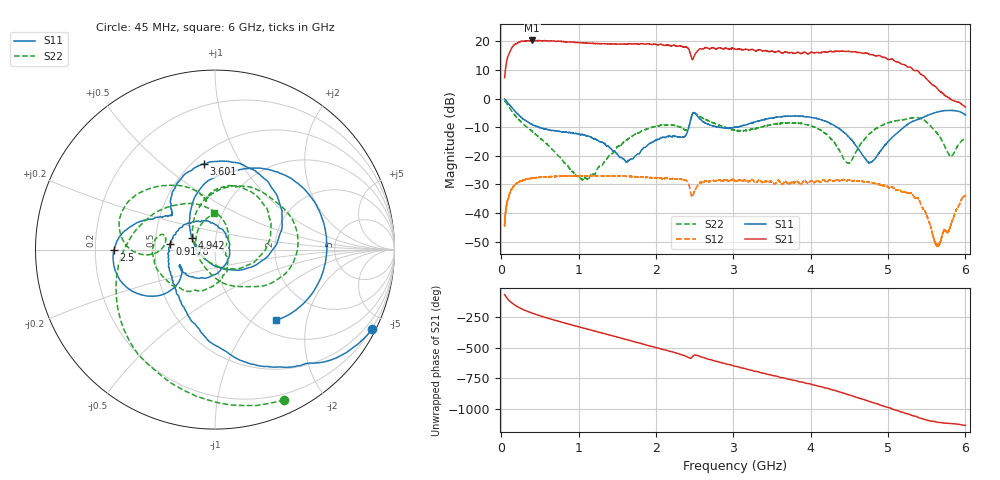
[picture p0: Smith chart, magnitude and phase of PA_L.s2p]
!Agilent Technologies,E8364A,US41440144,A.06.04.32
!Agilent E8364A: A.06.04.32
!Date: Thursday, November 08, 2018 14:32:05
!Correction: S11(Full 2 Port(1,2)) S21(Full 2 Port(1,2)) S12(Full 2 Port(1,2)) S22(Full 2 Port(1,2))
!S2P File: Measurements: S11, S21, S12, S22:
# Hz S  dB  R 50
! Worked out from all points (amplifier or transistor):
!   16001 points, 45 MHz to 6 GHz, reference 50 ohm
!   highest |S21| = 20.3 dB at 402.7 MHz (marker M1)
!   |S21| within 3 dB of that: 130.1 MHz to 2.424 GHz (2.294 GHz wide, 180 % of centre)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
!   unconditionally stable (mu >= 1): start of sweep to end of sweep
!   at 1.037 GHz: K = 1.33, MAG = 19.8 dB, |S12| = -27.0 dB
!   at 3.022 GHz: K = 1.75, MAG = 17.9 dB, |S12| = -28.6 dB
!   at 6 GHz: K = 24.24, MAG = -1.4 dB, |S12| = -33.9 dB
!   S11 on the Smith chart (normalised r, x): 45 MHz: 0.18, -4.20; 917.8 MHz: 0.60, +0.04; 2.5 GHz: 0.28, -0.00; 3.601 GHz: 0.57, +0.70; 4.942 GHz: 0.77, +0.10; 6 GHz: 1.23, -1.33
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4.5e7  -0.17 -26.8  7.32 -66.5  -43.96 139.7  -0.70 -65.3
1.268812e8  -2.69 -63.3  17.17 -128.3  -32.10 66.0  -3.90 -147.6
2.255109e8  -5.60 -91.5  19.71 -170.3  -29.17 23.7  -7.18 161.7
4.026722e8  -9.11 -122.3  20.35 141.7  -27.78 -19.8  -11.49 109.7
6.498047e8  -11.14 -152.9  20.25 92.4  -27.25 -63.7  -17.47 59.1
9.177797e8  -11.91 173.3  19.78 44.9  -27.05 -104.8  -25.44 15.8
1.037624e9  -12.52 158.0  19.47 24.5  -27.00 -122.2  -28.19 2.6
1.297411e9  -15.08 115.2  19.18 -19.0  -26.98 -160.1  -23.50 -28.0
1.587345e9  -21.19 20.5  19.11 -68.6  -27.09 158.4  -15.05 -80.5
2.030248e9  -14.25 -127.8  18.85 -143.3  -27.65 96.2  -9.53 -157.3
2.412112e9  -11.27 -138.0  17.78 141.9  -29.21 28.2  -10.90 176.1
2.499949e9  -4.99 -179.6  15.19 159.8  -32.34 50.9  -5.06 156.6
2.741498e9  -9.54 145.8  17.80 115.1  -28.60 11.6  -8.47 113.4
3.0225e9  -9.99 139.5  17.29 68.7  -28.64 -29.5  -11.04 100.3
3.342953e9  -7.71 122.8  17.11 19.0  -28.59 -73.1  -10.05 94.2
3.600879e9  -6.36 97.4  16.43 -21.9  -29.09 -110.3  -8.71 72.5
4.015124e9  -6.61 47.0  16.23 -79.8  -28.81 -161.5  -9.63 19.5
4.536931e9  -14.59 -37.2  16.39 -172.5  -28.70 116.3  -21.25 -170.9
4.942243e9  -16.85 154.1  14.45 104.4  -30.37 42.0  -9.07 79.6
5.007748e9  -14.86 140.5  13.68 91.4  -31.06 28.8  -8.40 68.7
5.302148e9  -8.18 94.3  10.77 28.8  -33.06 -33.0  -6.73 22.9
6e9  -5.68 -49.4  -2.94 -54.0  -33.85 -103.8  -13.70 92.2
